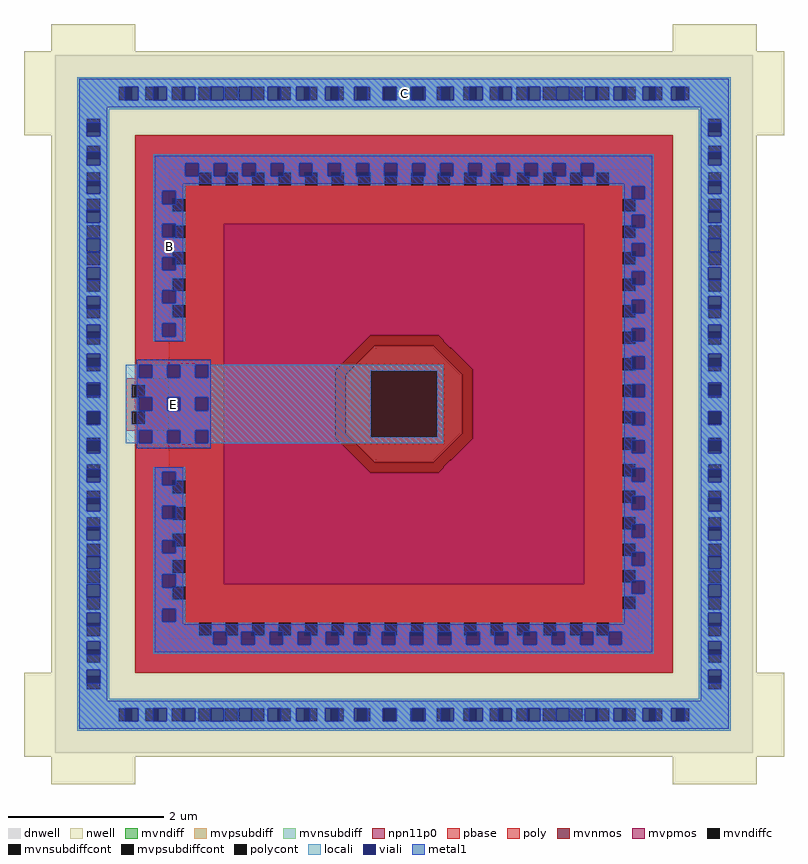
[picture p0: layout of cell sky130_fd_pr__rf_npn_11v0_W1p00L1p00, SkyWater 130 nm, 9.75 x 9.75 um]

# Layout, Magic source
magic
tech sky130A
magscale 1 2
<< dnwell >>
rect 80 80 1870 1870
<< nwell >>
rect 70 1880 286 1950
rect 1664 1880 1880 1950
rect 0 1664 1950 1880
rect 70 286 286 1664
rect 1664 286 1880 1664
rect 0 70 1950 286
rect 70 0 286 70
rect 1664 0 1880 70
<< pbase >>
rect 286 286 1664 1664
<< npn11p0 >>
rect 286 286 1664 1664
<< mvnmos >>
tri 862 1125 888 1151 se
rect 888 1125 1063 1151
tri 1063 1125 1089 1151 sw
tri 850 1113 862 1125 se
rect 862 1113 888 1125
tri 888 1113 900 1125 nw
tri 1051 1113 1063 1125 ne
rect 1063 1113 1089 1125
tri 1089 1113 1101 1125 sw
tri 831 1094 850 1113 se
rect 850 1094 869 1113
tri 869 1094 888 1113 nw
tri 1063 1094 1082 1113 ne
rect 1082 1094 1101 1113
tri 1101 1094 1120 1113 sw
tri 799 1062 831 1094 se
rect 831 1062 837 1094
tri 837 1062 869 1094 nw
tri 1082 1063 1113 1094 ne
rect 1113 1063 1120 1094
tri 1120 1063 1151 1094 sw
rect 799 899 825 1062
tri 825 1050 837 1062 nw
tri 825 899 826 900 sw
rect 799 888 826 899
tri 826 888 837 899 sw
tri 1113 1051 1125 1063 ne
tri 799 856 831 888 ne
rect 831 856 837 888
tri 837 856 869 888 sw
tri 1113 887 1125 899 se
rect 1125 887 1151 1063
tri 1082 856 1113 887 se
rect 1113 856 1120 887
tri 1120 856 1151 887 nw
tri 831 837 850 856 ne
rect 850 837 869 856
tri 869 837 888 856 sw
tri 1063 837 1082 856 se
rect 1082 837 1101 856
tri 1101 837 1120 856 nw
tri 850 825 862 837 ne
rect 862 825 888 837
tri 888 825 900 837 sw
tri 1051 825 1063 837 se
rect 1063 825 1089 837
tri 1089 825 1101 837 nw
tri 862 799 888 825 ne
rect 888 799 1063 825
tri 1063 799 1089 825 nw
<< mvpmos >>
rect 512 1151 1438 1437
rect 512 1125 862 1151
tri 862 1125 888 1151 nw
tri 1063 1125 1089 1151 ne
rect 1089 1125 1438 1151
rect 512 1113 850 1125
tri 850 1113 862 1125 nw
tri 1089 1113 1101 1125 ne
rect 1101 1113 1438 1125
rect 512 1094 831 1113
tri 831 1094 850 1113 nw
tri 1101 1094 1120 1113 ne
rect 1120 1094 1438 1113
rect 512 856 799 1094
tri 799 1062 831 1094 nw
tri 1120 1063 1151 1094 ne
tri 799 856 831 888 sw
tri 1120 856 1151 887 se
rect 1151 856 1438 1094
rect 512 837 831 856
tri 831 837 850 856 sw
tri 1101 837 1120 856 se
rect 1120 837 1438 856
rect 512 825 850 837
tri 850 825 862 837 sw
tri 1089 825 1101 837 se
rect 1101 825 1438 837
rect 512 799 862 825
tri 862 799 888 825 sw
tri 1063 799 1089 825 se
rect 1089 799 1438 825
rect 512 512 1438 799
<< mvndiff >>
tri 888 1113 900 1125 se
rect 900 1113 1051 1125
tri 1051 1113 1063 1125 sw
tri 869 1094 888 1113 se
rect 888 1094 1063 1113
tri 1063 1094 1082 1113 sw
tri 837 1062 869 1094 se
rect 869 1063 1082 1094
tri 1082 1063 1113 1094 sw
rect 869 1062 1113 1063
tri 825 1050 837 1062 se
rect 837 1060 1113 1062
rect 837 1050 890 1060
rect 825 900 890 1050
tri 825 899 826 900 ne
rect 826 899 890 900
tri 826 888 837 899 ne
rect 837 890 890 899
rect 1060 1051 1113 1060
tri 1113 1051 1125 1063 sw
rect 1060 899 1125 1051
rect 1060 890 1113 899
rect 837 888 1113 890
tri 837 856 869 888 ne
rect 869 887 1113 888
tri 1113 887 1125 899 nw
rect 869 856 1082 887
tri 1082 856 1113 887 nw
tri 869 837 888 856 ne
rect 888 837 1063 856
tri 1063 837 1082 856 nw
tri 888 825 900 837 ne
rect 900 825 1051 837
tri 1051 825 1063 837 nw
<< mvndiffc >>
rect 890 890 1060 1060
<< mvpsubdiff >>
rect 372 1570 1578 1577
rect 372 1536 448 1570
rect 482 1536 516 1570
rect 550 1536 584 1570
rect 618 1536 652 1570
rect 686 1536 720 1570
rect 754 1536 788 1570
rect 822 1536 856 1570
rect 890 1536 924 1570
rect 958 1536 992 1570
rect 1026 1536 1060 1570
rect 1094 1536 1128 1570
rect 1162 1536 1196 1570
rect 1230 1536 1264 1570
rect 1298 1536 1332 1570
rect 1366 1536 1400 1570
rect 1434 1536 1468 1570
rect 1502 1536 1578 1570
rect 372 1502 1578 1536
rect 372 1468 380 1502
rect 414 1468 1536 1502
rect 1570 1468 1578 1502
rect 372 1437 1578 1468
rect 372 1434 512 1437
rect 372 1400 380 1434
rect 414 1400 512 1434
rect 372 1366 512 1400
rect 372 1332 380 1366
rect 414 1332 512 1366
rect 372 1298 512 1332
rect 372 1264 380 1298
rect 414 1264 512 1298
rect 372 1230 512 1264
rect 372 1196 380 1230
rect 414 1196 512 1230
rect 372 779 512 1196
rect 1438 1434 1578 1437
rect 1438 1400 1536 1434
rect 1570 1400 1578 1434
rect 1438 1366 1578 1400
rect 1438 1332 1536 1366
rect 1570 1332 1578 1366
rect 1438 1298 1578 1332
rect 1438 1264 1536 1298
rect 1570 1264 1578 1298
rect 1438 1230 1578 1264
rect 1438 1196 1536 1230
rect 1570 1196 1578 1230
rect 1438 1162 1578 1196
rect 1438 1128 1536 1162
rect 1570 1128 1578 1162
rect 1438 1094 1578 1128
rect 1438 1060 1536 1094
rect 1570 1060 1578 1094
rect 1438 1026 1578 1060
rect 1438 992 1536 1026
rect 1570 992 1578 1026
rect 1438 958 1578 992
rect 1438 924 1536 958
rect 1570 924 1578 958
rect 1438 890 1578 924
rect 1438 856 1536 890
rect 1570 856 1578 890
rect 1438 822 1578 856
rect 372 745 380 779
rect 414 745 512 779
rect 372 711 512 745
rect 372 677 380 711
rect 414 677 512 711
rect 372 643 512 677
rect 372 609 380 643
rect 414 609 512 643
rect 372 575 512 609
rect 372 541 380 575
rect 414 541 512 575
rect 372 512 512 541
rect 1438 788 1536 822
rect 1570 788 1578 822
rect 1438 754 1578 788
rect 1438 720 1536 754
rect 1570 720 1578 754
rect 1438 686 1578 720
rect 1438 652 1536 686
rect 1570 652 1578 686
rect 1438 618 1578 652
rect 1438 584 1536 618
rect 1570 584 1578 618
rect 1438 550 1578 584
rect 1438 516 1536 550
rect 1570 516 1578 550
rect 1438 512 1578 516
rect 372 507 1578 512
rect 372 473 380 507
rect 414 482 1578 507
rect 414 473 1536 482
rect 372 448 1536 473
rect 1570 448 1578 482
rect 372 414 1578 448
rect 372 380 448 414
rect 482 380 516 414
rect 550 380 584 414
rect 618 380 652 414
rect 686 380 720 414
rect 754 380 788 414
rect 822 380 856 414
rect 890 380 924 414
rect 958 380 992 414
rect 1026 380 1060 414
rect 1094 380 1128 414
rect 1162 380 1196 414
rect 1230 380 1264 414
rect 1298 380 1332 414
rect 1366 380 1400 414
rect 1434 380 1468 414
rect 1502 380 1578 414
rect 372 372 1578 380
<< mvnsubdiff >>
rect 137 1789 1813 1813
rect 137 1755 243 1789
rect 277 1755 311 1789
rect 345 1755 379 1789
rect 413 1755 447 1789
rect 481 1755 515 1789
rect 549 1755 583 1789
rect 617 1755 651 1789
rect 685 1755 719 1789
rect 753 1755 787 1789
rect 821 1755 855 1789
rect 889 1755 923 1789
rect 957 1755 991 1789
rect 1025 1755 1059 1789
rect 1093 1755 1127 1789
rect 1161 1755 1195 1789
rect 1229 1755 1263 1789
rect 1297 1755 1331 1789
rect 1365 1755 1399 1789
rect 1433 1755 1467 1789
rect 1501 1755 1535 1789
rect 1569 1755 1604 1789
rect 1638 1755 1673 1789
rect 1707 1755 1813 1789
rect 137 1731 1813 1755
rect 137 1707 219 1731
rect 137 1673 161 1707
rect 195 1673 219 1707
rect 137 1638 219 1673
rect 137 1604 161 1638
rect 195 1604 219 1638
rect 137 1569 219 1604
rect 1731 1707 1813 1731
rect 1731 1673 1755 1707
rect 1789 1673 1813 1707
rect 1731 1638 1813 1673
rect 1731 1604 1755 1638
rect 1789 1604 1813 1638
rect 137 1535 161 1569
rect 195 1535 219 1569
rect 137 1501 219 1535
rect 137 1467 161 1501
rect 195 1467 219 1501
rect 137 1433 219 1467
rect 137 1399 161 1433
rect 195 1399 219 1433
rect 137 1365 219 1399
rect 137 1331 161 1365
rect 195 1331 219 1365
rect 137 1297 219 1331
rect 137 1263 161 1297
rect 195 1263 219 1297
rect 137 1229 219 1263
rect 137 1195 161 1229
rect 195 1195 219 1229
rect 137 1161 219 1195
rect 137 1127 161 1161
rect 195 1127 219 1161
rect 137 1093 219 1127
rect 137 1059 161 1093
rect 195 1059 219 1093
rect 137 1025 219 1059
rect 137 991 161 1025
rect 195 991 219 1025
rect 137 957 219 991
rect 137 923 161 957
rect 195 923 219 957
rect 137 889 219 923
rect 137 855 161 889
rect 195 855 219 889
rect 137 821 219 855
rect 137 787 161 821
rect 195 787 219 821
rect 137 753 219 787
rect 137 719 161 753
rect 195 719 219 753
rect 137 685 219 719
rect 137 651 161 685
rect 195 651 219 685
rect 137 617 219 651
rect 137 583 161 617
rect 195 583 219 617
rect 137 549 219 583
rect 137 515 161 549
rect 195 515 219 549
rect 137 481 219 515
rect 137 447 161 481
rect 195 447 219 481
rect 137 413 219 447
rect 137 379 161 413
rect 195 379 219 413
rect 137 345 219 379
rect 1731 1569 1813 1604
rect 1731 1535 1755 1569
rect 1789 1535 1813 1569
rect 1731 1501 1813 1535
rect 1731 1467 1755 1501
rect 1789 1467 1813 1501
rect 1731 1433 1813 1467
rect 1731 1399 1755 1433
rect 1789 1399 1813 1433
rect 1731 1365 1813 1399
rect 1731 1331 1755 1365
rect 1789 1331 1813 1365
rect 1731 1297 1813 1331
rect 1731 1263 1755 1297
rect 1789 1263 1813 1297
rect 1731 1229 1813 1263
rect 1731 1195 1755 1229
rect 1789 1195 1813 1229
rect 1731 1161 1813 1195
rect 1731 1127 1755 1161
rect 1789 1127 1813 1161
rect 1731 1093 1813 1127
rect 1731 1059 1755 1093
rect 1789 1059 1813 1093
rect 1731 1025 1813 1059
rect 1731 991 1755 1025
rect 1789 991 1813 1025
rect 1731 957 1813 991
rect 1731 923 1755 957
rect 1789 923 1813 957
rect 1731 889 1813 923
rect 1731 855 1755 889
rect 1789 855 1813 889
rect 1731 821 1813 855
rect 1731 787 1755 821
rect 1789 787 1813 821
rect 1731 753 1813 787
rect 1731 719 1755 753
rect 1789 719 1813 753
rect 1731 685 1813 719
rect 1731 651 1755 685
rect 1789 651 1813 685
rect 1731 617 1813 651
rect 1731 583 1755 617
rect 1789 583 1813 617
rect 1731 549 1813 583
rect 1731 515 1755 549
rect 1789 515 1813 549
rect 1731 481 1813 515
rect 1731 447 1755 481
rect 1789 447 1813 481
rect 1731 413 1813 447
rect 1731 379 1755 413
rect 1789 379 1813 413
rect 137 311 161 345
rect 195 311 219 345
rect 137 277 219 311
rect 137 243 161 277
rect 195 243 219 277
rect 137 219 219 243
rect 1731 345 1813 379
rect 1731 311 1755 345
rect 1789 311 1813 345
rect 1731 277 1813 311
rect 1731 243 1755 277
rect 1789 243 1813 277
rect 1731 219 1813 243
rect 137 195 1813 219
rect 137 161 243 195
rect 277 161 311 195
rect 345 161 379 195
rect 413 161 447 195
rect 481 161 515 195
rect 549 161 583 195
rect 617 161 651 195
rect 685 161 719 195
rect 753 161 787 195
rect 821 161 855 195
rect 889 161 923 195
rect 957 161 991 195
rect 1025 161 1059 195
rect 1093 161 1127 195
rect 1161 161 1195 195
rect 1229 161 1263 195
rect 1297 161 1331 195
rect 1365 161 1399 195
rect 1433 161 1467 195
rect 1501 161 1535 195
rect 1569 161 1604 195
rect 1638 161 1673 195
rect 1707 161 1813 195
rect 137 137 1813 161
<< mvpsubdiffcont >>
rect 448 1536 482 1570
rect 516 1536 550 1570
rect 584 1536 618 1570
rect 652 1536 686 1570
rect 720 1536 754 1570
rect 788 1536 822 1570
rect 856 1536 890 1570
rect 924 1536 958 1570
rect 992 1536 1026 1570
rect 1060 1536 1094 1570
rect 1128 1536 1162 1570
rect 1196 1536 1230 1570
rect 1264 1536 1298 1570
rect 1332 1536 1366 1570
rect 1400 1536 1434 1570
rect 1468 1536 1502 1570
rect 380 1468 414 1502
rect 1536 1468 1570 1502
rect 380 1400 414 1434
rect 380 1332 414 1366
rect 380 1264 414 1298
rect 380 1196 414 1230
rect 1536 1400 1570 1434
rect 1536 1332 1570 1366
rect 1536 1264 1570 1298
rect 1536 1196 1570 1230
rect 1536 1128 1570 1162
rect 1536 1060 1570 1094
rect 1536 992 1570 1026
rect 1536 924 1570 958
rect 1536 856 1570 890
rect 380 745 414 779
rect 380 677 414 711
rect 380 609 414 643
rect 380 541 414 575
rect 1536 788 1570 822
rect 1536 720 1570 754
rect 1536 652 1570 686
rect 1536 584 1570 618
rect 1536 516 1570 550
rect 380 473 414 507
rect 1536 448 1570 482
rect 448 380 482 414
rect 516 380 550 414
rect 584 380 618 414
rect 652 380 686 414
rect 720 380 754 414
rect 788 380 822 414
rect 856 380 890 414
rect 924 380 958 414
rect 992 380 1026 414
rect 1060 380 1094 414
rect 1128 380 1162 414
rect 1196 380 1230 414
rect 1264 380 1298 414
rect 1332 380 1366 414
rect 1400 380 1434 414
rect 1468 380 1502 414
<< mvnsubdiffcont >>
rect 243 1755 277 1789
rect 311 1755 345 1789
rect 379 1755 413 1789
rect 447 1755 481 1789
rect 515 1755 549 1789
rect 583 1755 617 1789
rect 651 1755 685 1789
rect 719 1755 753 1789
rect 787 1755 821 1789
rect 855 1755 889 1789
rect 923 1755 957 1789
rect 991 1755 1025 1789
rect 1059 1755 1093 1789
rect 1127 1755 1161 1789
rect 1195 1755 1229 1789
rect 1263 1755 1297 1789
rect 1331 1755 1365 1789
rect 1399 1755 1433 1789
rect 1467 1755 1501 1789
rect 1535 1755 1569 1789
rect 1604 1755 1638 1789
rect 1673 1755 1707 1789
rect 161 1673 195 1707
rect 161 1604 195 1638
rect 1755 1673 1789 1707
rect 1755 1604 1789 1638
rect 161 1535 195 1569
rect 161 1467 195 1501
rect 161 1399 195 1433
rect 161 1331 195 1365
rect 161 1263 195 1297
rect 161 1195 195 1229
rect 161 1127 195 1161
rect 161 1059 195 1093
rect 161 991 195 1025
rect 161 923 195 957
rect 161 855 195 889
rect 161 787 195 821
rect 161 719 195 753
rect 161 651 195 685
rect 161 583 195 617
rect 161 515 195 549
rect 161 447 195 481
rect 161 379 195 413
rect 1755 1535 1789 1569
rect 1755 1467 1789 1501
rect 1755 1399 1789 1433
rect 1755 1331 1789 1365
rect 1755 1263 1789 1297
rect 1755 1195 1789 1229
rect 1755 1127 1789 1161
rect 1755 1059 1789 1093
rect 1755 991 1789 1025
rect 1755 923 1789 957
rect 1755 855 1789 889
rect 1755 787 1789 821
rect 1755 719 1789 753
rect 1755 651 1789 685
rect 1755 583 1789 617
rect 1755 515 1789 549
rect 1755 447 1789 481
rect 1755 379 1789 413
rect 161 311 195 345
rect 161 243 195 277
rect 1755 311 1789 345
rect 1755 243 1789 277
rect 243 161 277 195
rect 311 161 345 195
rect 379 161 413 195
rect 447 161 481 195
rect 515 161 549 195
rect 583 161 617 195
rect 651 161 685 195
rect 719 161 753 195
rect 787 161 821 195
rect 855 161 889 195
rect 923 161 957 195
rect 991 161 1025 195
rect 1059 161 1093 195
rect 1127 161 1161 195
rect 1195 161 1229 195
rect 1263 161 1297 195
rect 1331 161 1365 195
rect 1399 161 1433 195
rect 1467 161 1501 195
rect 1535 161 1569 195
rect 1604 161 1638 195
rect 1673 161 1707 195
<< poly >>
rect 261 1025 372 1041
rect 261 991 277 1025
rect 311 991 372 1025
rect 261 957 372 991
rect 261 923 277 957
rect 311 923 372 957
rect 261 907 372 923
<< polycont >>
rect 277 991 311 1025
rect 277 923 311 957
<< locali >>
rect 137 1789 1813 1813
rect 137 1755 243 1789
rect 293 1755 311 1789
rect 366 1755 379 1789
rect 439 1755 447 1789
rect 512 1755 515 1789
rect 549 1755 551 1789
rect 617 1755 625 1789
rect 685 1755 699 1789
rect 753 1755 773 1789
rect 821 1755 847 1789
rect 889 1755 921 1789
rect 957 1755 991 1789
rect 1029 1755 1059 1789
rect 1103 1755 1127 1789
rect 1177 1755 1195 1789
rect 1251 1755 1263 1789
rect 1325 1755 1331 1789
rect 1433 1755 1439 1789
rect 1501 1755 1513 1789
rect 1569 1755 1587 1789
rect 1638 1755 1661 1789
rect 1707 1755 1813 1789
rect 137 1731 1813 1755
rect 137 1707 219 1731
rect 137 1662 161 1707
rect 195 1662 219 1707
rect 137 1638 219 1662
rect 137 1588 161 1638
rect 195 1588 219 1638
rect 1731 1707 1813 1731
rect 1731 1662 1755 1707
rect 1789 1662 1813 1707
rect 1731 1638 1813 1662
rect 137 1569 219 1588
rect 137 1514 161 1569
rect 195 1514 219 1569
rect 137 1501 219 1514
rect 137 1440 161 1501
rect 195 1440 219 1501
rect 137 1433 219 1440
rect 137 1366 161 1433
rect 195 1366 219 1433
rect 137 1365 219 1366
rect 137 1331 161 1365
rect 195 1331 219 1365
rect 137 1326 219 1331
rect 137 1263 161 1326
rect 195 1263 219 1326
rect 137 1252 219 1263
rect 137 1195 161 1252
rect 195 1195 219 1252
rect 137 1178 219 1195
rect 137 1127 161 1178
rect 195 1127 219 1178
rect 332 1593 1616 1616
rect 332 1559 414 1593
rect 448 1570 487 1593
rect 521 1570 560 1593
rect 594 1570 633 1593
rect 667 1570 706 1593
rect 740 1570 779 1593
rect 813 1570 852 1593
rect 886 1570 924 1593
rect 958 1570 996 1593
rect 1030 1570 1068 1593
rect 1102 1570 1140 1593
rect 1174 1570 1212 1593
rect 1246 1570 1284 1593
rect 1318 1570 1356 1593
rect 1390 1570 1428 1593
rect 1462 1570 1616 1593
rect 332 1536 448 1559
rect 482 1559 487 1570
rect 550 1559 560 1570
rect 618 1559 633 1570
rect 686 1559 706 1570
rect 754 1559 779 1570
rect 822 1559 852 1570
rect 482 1536 516 1559
rect 550 1536 584 1559
rect 618 1536 652 1559
rect 686 1536 720 1559
rect 754 1536 788 1559
rect 822 1536 856 1559
rect 890 1536 924 1570
rect 958 1536 992 1570
rect 1030 1559 1060 1570
rect 1102 1559 1128 1570
rect 1174 1559 1196 1570
rect 1246 1559 1264 1570
rect 1318 1559 1332 1570
rect 1390 1559 1400 1570
rect 1462 1559 1468 1570
rect 1026 1536 1060 1559
rect 1094 1536 1128 1559
rect 1162 1536 1196 1559
rect 1230 1536 1264 1559
rect 1298 1536 1332 1559
rect 1366 1536 1400 1559
rect 1434 1536 1468 1559
rect 1502 1536 1616 1570
rect 332 1522 414 1536
rect 332 1488 355 1522
rect 389 1502 414 1522
rect 332 1468 380 1488
rect 332 1437 414 1468
rect 332 1403 355 1437
rect 389 1434 414 1437
rect 332 1400 380 1403
rect 332 1366 414 1400
rect 332 1352 380 1366
rect 332 1318 355 1352
rect 389 1318 414 1332
rect 332 1298 414 1318
rect 332 1267 380 1298
rect 332 1233 355 1267
rect 389 1233 414 1264
rect 332 1230 414 1233
rect 332 1196 380 1230
rect 332 1182 414 1196
rect 332 1148 355 1182
rect 389 1148 414 1182
rect 332 1136 414 1148
rect 1536 1534 1616 1536
rect 1536 1502 1559 1534
rect 1593 1500 1616 1534
rect 1570 1468 1616 1500
rect 1536 1461 1616 1468
rect 1536 1434 1559 1461
rect 1593 1427 1616 1461
rect 1570 1400 1616 1427
rect 1536 1388 1616 1400
rect 1536 1366 1559 1388
rect 1593 1354 1616 1388
rect 1570 1332 1616 1354
rect 1536 1315 1616 1332
rect 1536 1298 1559 1315
rect 1593 1281 1616 1315
rect 1570 1264 1616 1281
rect 1536 1242 1616 1264
rect 1536 1230 1559 1242
rect 1593 1208 1616 1242
rect 1570 1196 1616 1208
rect 1536 1170 1616 1196
rect 1536 1162 1559 1170
rect 1593 1136 1616 1170
rect 137 1104 219 1127
rect 137 1059 161 1104
rect 195 1059 219 1104
rect 1570 1128 1616 1136
rect 1536 1098 1616 1128
rect 1536 1094 1559 1098
rect 137 1030 219 1059
rect 137 991 161 1030
rect 195 991 219 1030
rect 137 957 219 991
rect 137 922 161 957
rect 195 922 219 957
rect 137 889 219 922
rect 137 848 161 889
rect 195 848 219 889
rect 261 1042 295 1076
rect 329 1042 367 1076
rect 401 1042 439 1076
rect 473 1060 1076 1076
rect 473 1042 890 1060
rect 261 1025 890 1042
rect 261 991 277 1025
rect 311 992 890 1025
rect 261 958 295 991
rect 329 958 367 992
rect 401 958 439 992
rect 473 958 890 992
rect 261 957 890 958
rect 261 923 277 957
rect 311 923 890 957
rect 261 908 890 923
rect 261 874 295 908
rect 329 874 367 908
rect 401 874 439 908
rect 473 890 890 908
rect 1060 890 1076 1060
rect 473 874 1076 890
rect 1593 1064 1616 1098
rect 1570 1060 1616 1064
rect 1536 1026 1616 1060
rect 1593 992 1616 1026
rect 1536 958 1616 992
rect 1570 954 1616 958
rect 1536 920 1559 924
rect 1593 920 1616 954
rect 1536 890 1616 920
rect 1570 882 1616 890
rect 137 821 219 848
rect 137 774 161 821
rect 195 774 219 821
rect 1536 848 1559 856
rect 1593 848 1616 882
rect 1536 822 1616 848
rect 137 753 219 774
rect 137 700 161 753
rect 195 700 219 753
rect 137 685 219 700
rect 137 626 161 685
rect 195 626 219 685
rect 137 617 219 626
rect 137 552 161 617
rect 195 552 219 617
rect 137 549 219 552
rect 137 515 161 549
rect 195 515 219 549
rect 137 512 219 515
rect 137 447 161 512
rect 195 447 219 512
rect 137 439 219 447
rect 137 379 161 439
rect 195 379 219 439
rect 137 366 219 379
rect 137 311 161 366
rect 195 311 219 366
rect 332 801 414 813
rect 332 767 355 801
rect 389 779 414 801
rect 332 745 380 767
rect 332 714 414 745
rect 332 680 355 714
rect 389 711 414 714
rect 332 677 380 680
rect 332 643 414 677
rect 332 626 380 643
rect 332 592 355 626
rect 389 592 414 609
rect 332 575 414 592
rect 332 541 380 575
rect 332 538 414 541
rect 332 504 355 538
rect 389 507 414 538
rect 332 473 380 504
rect 332 450 414 473
rect 332 416 355 450
rect 389 416 414 450
rect 332 414 414 416
rect 1570 810 1616 822
rect 1536 776 1559 788
rect 1593 776 1616 810
rect 1536 754 1616 776
rect 1570 738 1616 754
rect 1536 704 1559 720
rect 1593 704 1616 738
rect 1536 686 1616 704
rect 1570 666 1616 686
rect 1536 632 1559 652
rect 1593 632 1616 666
rect 1536 618 1616 632
rect 1570 594 1616 618
rect 1536 560 1559 584
rect 1593 560 1616 594
rect 1536 550 1616 560
rect 1570 522 1616 550
rect 1536 488 1559 516
rect 1593 488 1616 522
rect 1536 482 1616 488
rect 1570 448 1616 482
rect 1536 414 1616 448
rect 332 380 448 414
rect 482 391 516 414
rect 550 391 584 414
rect 618 391 652 414
rect 686 391 720 414
rect 754 391 788 414
rect 822 391 856 414
rect 890 391 924 414
rect 958 391 992 414
rect 482 380 486 391
rect 550 380 558 391
rect 618 380 630 391
rect 686 380 702 391
rect 754 380 774 391
rect 822 380 846 391
rect 890 380 918 391
rect 958 380 990 391
rect 1026 380 1060 414
rect 1094 391 1128 414
rect 1162 391 1196 414
rect 1230 391 1264 414
rect 1298 391 1332 414
rect 1366 391 1400 414
rect 1434 391 1468 414
rect 1502 391 1616 414
rect 1096 380 1128 391
rect 1169 380 1196 391
rect 1242 380 1264 391
rect 1315 380 1332 391
rect 1388 380 1400 391
rect 1461 380 1468 391
rect 332 357 486 380
rect 520 357 558 380
rect 592 357 630 380
rect 664 357 702 380
rect 736 357 774 380
rect 808 357 846 380
rect 880 357 918 380
rect 952 357 990 380
rect 1024 357 1062 380
rect 1096 357 1135 380
rect 1169 357 1208 380
rect 1242 357 1281 380
rect 1315 357 1354 380
rect 1388 357 1427 380
rect 1461 357 1500 380
rect 1534 357 1616 391
rect 332 334 1616 357
rect 1731 1588 1755 1638
rect 1789 1588 1813 1638
rect 1731 1569 1813 1588
rect 1731 1514 1755 1569
rect 1789 1514 1813 1569
rect 1731 1501 1813 1514
rect 1731 1440 1755 1501
rect 1789 1440 1813 1501
rect 1731 1433 1813 1440
rect 1731 1366 1755 1433
rect 1789 1366 1813 1433
rect 1731 1365 1813 1366
rect 1731 1331 1755 1365
rect 1789 1331 1813 1365
rect 1731 1326 1813 1331
rect 1731 1263 1755 1326
rect 1789 1263 1813 1326
rect 1731 1252 1813 1263
rect 1731 1195 1755 1252
rect 1789 1195 1813 1252
rect 1731 1178 1813 1195
rect 1731 1127 1755 1178
rect 1789 1127 1813 1178
rect 1731 1104 1813 1127
rect 1731 1059 1755 1104
rect 1789 1059 1813 1104
rect 1731 1030 1813 1059
rect 1731 991 1755 1030
rect 1789 991 1813 1030
rect 1731 957 1813 991
rect 1731 922 1755 957
rect 1789 922 1813 957
rect 1731 889 1813 922
rect 1731 848 1755 889
rect 1789 848 1813 889
rect 1731 821 1813 848
rect 1731 774 1755 821
rect 1789 774 1813 821
rect 1731 753 1813 774
rect 1731 700 1755 753
rect 1789 700 1813 753
rect 1731 685 1813 700
rect 1731 626 1755 685
rect 1789 626 1813 685
rect 1731 617 1813 626
rect 1731 552 1755 617
rect 1789 552 1813 617
rect 1731 549 1813 552
rect 1731 515 1755 549
rect 1789 515 1813 549
rect 1731 512 1813 515
rect 1731 447 1755 512
rect 1789 447 1813 512
rect 1731 439 1813 447
rect 1731 379 1755 439
rect 1789 379 1813 439
rect 1731 366 1813 379
rect 137 293 219 311
rect 137 243 161 293
rect 195 243 219 293
rect 137 219 219 243
rect 1731 311 1755 366
rect 1789 311 1813 366
rect 1731 293 1813 311
rect 1731 243 1755 293
rect 1789 243 1813 293
rect 1731 219 1813 243
rect 137 195 1813 219
rect 137 161 243 195
rect 293 161 311 195
rect 366 161 379 195
rect 439 161 447 195
rect 512 161 515 195
rect 549 161 551 195
rect 617 161 625 195
rect 685 161 699 195
rect 753 161 773 195
rect 821 161 847 195
rect 889 161 921 195
rect 957 161 991 195
rect 1029 161 1059 195
rect 1103 161 1127 195
rect 1177 161 1195 195
rect 1251 161 1263 195
rect 1325 161 1331 195
rect 1433 161 1439 195
rect 1501 161 1513 195
rect 1569 161 1587 195
rect 1638 161 1661 195
rect 1707 161 1813 195
rect 137 137 1813 161
<< viali >>
rect 259 1755 277 1789
rect 277 1755 293 1789
rect 332 1755 345 1789
rect 345 1755 366 1789
rect 405 1755 413 1789
rect 413 1755 439 1789
rect 478 1755 481 1789
rect 481 1755 512 1789
rect 551 1755 583 1789
rect 583 1755 585 1789
rect 625 1755 651 1789
rect 651 1755 659 1789
rect 699 1755 719 1789
rect 719 1755 733 1789
rect 773 1755 787 1789
rect 787 1755 807 1789
rect 847 1755 855 1789
rect 855 1755 881 1789
rect 921 1755 923 1789
rect 923 1755 955 1789
rect 995 1755 1025 1789
rect 1025 1755 1029 1789
rect 1069 1755 1093 1789
rect 1093 1755 1103 1789
rect 1143 1755 1161 1789
rect 1161 1755 1177 1789
rect 1217 1755 1229 1789
rect 1229 1755 1251 1789
rect 1291 1755 1297 1789
rect 1297 1755 1325 1789
rect 1365 1755 1399 1789
rect 1439 1755 1467 1789
rect 1467 1755 1473 1789
rect 1513 1755 1535 1789
rect 1535 1755 1547 1789
rect 1587 1755 1604 1789
rect 1604 1755 1621 1789
rect 1661 1755 1673 1789
rect 1673 1755 1695 1789
rect 161 1673 195 1696
rect 161 1662 195 1673
rect 161 1604 195 1622
rect 161 1588 195 1604
rect 1755 1673 1789 1696
rect 1755 1662 1789 1673
rect 161 1535 195 1548
rect 161 1514 195 1535
rect 161 1467 195 1474
rect 161 1440 195 1467
rect 161 1399 195 1400
rect 161 1366 195 1399
rect 161 1297 195 1326
rect 161 1292 195 1297
rect 161 1229 195 1252
rect 161 1218 195 1229
rect 161 1161 195 1178
rect 161 1144 195 1161
rect 414 1559 448 1593
rect 487 1570 521 1593
rect 560 1570 594 1593
rect 633 1570 667 1593
rect 706 1570 740 1593
rect 779 1570 813 1593
rect 852 1570 886 1593
rect 924 1570 958 1593
rect 996 1570 1030 1593
rect 1068 1570 1102 1593
rect 1140 1570 1174 1593
rect 1212 1570 1246 1593
rect 1284 1570 1318 1593
rect 1356 1570 1390 1593
rect 1428 1570 1462 1593
rect 487 1559 516 1570
rect 516 1559 521 1570
rect 560 1559 584 1570
rect 584 1559 594 1570
rect 633 1559 652 1570
rect 652 1559 667 1570
rect 706 1559 720 1570
rect 720 1559 740 1570
rect 779 1559 788 1570
rect 788 1559 813 1570
rect 852 1559 856 1570
rect 856 1559 886 1570
rect 924 1559 958 1570
rect 996 1559 1026 1570
rect 1026 1559 1030 1570
rect 1068 1559 1094 1570
rect 1094 1559 1102 1570
rect 1140 1559 1162 1570
rect 1162 1559 1174 1570
rect 1212 1559 1230 1570
rect 1230 1559 1246 1570
rect 1284 1559 1298 1570
rect 1298 1559 1318 1570
rect 1356 1559 1366 1570
rect 1366 1559 1390 1570
rect 1428 1559 1434 1570
rect 1434 1559 1462 1570
rect 355 1502 389 1522
rect 355 1488 380 1502
rect 380 1488 389 1502
rect 355 1434 389 1437
rect 355 1403 380 1434
rect 380 1403 389 1434
rect 355 1332 380 1352
rect 380 1332 389 1352
rect 355 1318 389 1332
rect 355 1264 380 1267
rect 380 1264 389 1267
rect 355 1233 389 1264
rect 355 1148 389 1182
rect 1559 1502 1593 1534
rect 1559 1500 1570 1502
rect 1570 1500 1593 1502
rect 1559 1434 1593 1461
rect 1559 1427 1570 1434
rect 1570 1427 1593 1434
rect 1559 1366 1593 1388
rect 1559 1354 1570 1366
rect 1570 1354 1593 1366
rect 1559 1298 1593 1315
rect 1559 1281 1570 1298
rect 1570 1281 1593 1298
rect 1559 1230 1593 1242
rect 1559 1208 1570 1230
rect 1570 1208 1593 1230
rect 1559 1162 1593 1170
rect 1559 1136 1570 1162
rect 1570 1136 1593 1162
rect 161 1093 195 1104
rect 161 1070 195 1093
rect 1559 1094 1593 1098
rect 161 1025 195 1030
rect 161 996 195 1025
rect 161 923 195 956
rect 161 922 195 923
rect 161 855 195 882
rect 161 848 195 855
rect 295 1042 329 1076
rect 367 1042 401 1076
rect 439 1042 473 1076
rect 295 991 311 992
rect 311 991 329 992
rect 295 958 329 991
rect 367 958 401 992
rect 439 958 473 992
rect 295 874 329 908
rect 367 874 401 908
rect 439 874 473 908
rect 1559 1064 1570 1094
rect 1570 1064 1593 1094
rect 1559 992 1570 1026
rect 1570 992 1593 1026
rect 1559 924 1570 954
rect 1570 924 1593 954
rect 1559 920 1593 924
rect 161 787 195 808
rect 161 774 195 787
rect 1559 856 1570 882
rect 1570 856 1593 882
rect 1559 848 1593 856
rect 161 719 195 734
rect 161 700 195 719
rect 161 651 195 660
rect 161 626 195 651
rect 161 583 195 586
rect 161 552 195 583
rect 161 481 195 512
rect 161 478 195 481
rect 161 413 195 439
rect 161 405 195 413
rect 161 345 195 366
rect 161 332 195 345
rect 355 779 389 801
rect 355 767 380 779
rect 380 767 389 779
rect 355 711 389 714
rect 355 680 380 711
rect 380 680 389 711
rect 355 609 380 626
rect 380 609 389 626
rect 355 592 389 609
rect 355 507 389 538
rect 355 504 380 507
rect 380 504 389 507
rect 355 416 389 450
rect 1559 788 1570 810
rect 1570 788 1593 810
rect 1559 776 1593 788
rect 1559 720 1570 738
rect 1570 720 1593 738
rect 1559 704 1593 720
rect 1559 652 1570 666
rect 1570 652 1593 666
rect 1559 632 1593 652
rect 1559 584 1570 594
rect 1570 584 1593 594
rect 1559 560 1593 584
rect 1559 516 1570 522
rect 1570 516 1593 522
rect 1559 488 1593 516
rect 486 380 516 391
rect 516 380 520 391
rect 558 380 584 391
rect 584 380 592 391
rect 630 380 652 391
rect 652 380 664 391
rect 702 380 720 391
rect 720 380 736 391
rect 774 380 788 391
rect 788 380 808 391
rect 846 380 856 391
rect 856 380 880 391
rect 918 380 924 391
rect 924 380 952 391
rect 990 380 992 391
rect 992 380 1024 391
rect 1062 380 1094 391
rect 1094 380 1096 391
rect 1135 380 1162 391
rect 1162 380 1169 391
rect 1208 380 1230 391
rect 1230 380 1242 391
rect 1281 380 1298 391
rect 1298 380 1315 391
rect 1354 380 1366 391
rect 1366 380 1388 391
rect 1427 380 1434 391
rect 1434 380 1461 391
rect 1500 380 1502 391
rect 1502 380 1534 391
rect 486 357 520 380
rect 558 357 592 380
rect 630 357 664 380
rect 702 357 736 380
rect 774 357 808 380
rect 846 357 880 380
rect 918 357 952 380
rect 990 357 1024 380
rect 1062 357 1096 380
rect 1135 357 1169 380
rect 1208 357 1242 380
rect 1281 357 1315 380
rect 1354 357 1388 380
rect 1427 357 1461 380
rect 1500 357 1534 380
rect 1755 1604 1789 1622
rect 1755 1588 1789 1604
rect 1755 1535 1789 1548
rect 1755 1514 1789 1535
rect 1755 1467 1789 1474
rect 1755 1440 1789 1467
rect 1755 1399 1789 1400
rect 1755 1366 1789 1399
rect 1755 1297 1789 1326
rect 1755 1292 1789 1297
rect 1755 1229 1789 1252
rect 1755 1218 1789 1229
rect 1755 1161 1789 1178
rect 1755 1144 1789 1161
rect 1755 1093 1789 1104
rect 1755 1070 1789 1093
rect 1755 1025 1789 1030
rect 1755 996 1789 1025
rect 1755 923 1789 956
rect 1755 922 1789 923
rect 1755 855 1789 882
rect 1755 848 1789 855
rect 1755 787 1789 808
rect 1755 774 1789 787
rect 1755 719 1789 734
rect 1755 700 1789 719
rect 1755 651 1789 660
rect 1755 626 1789 651
rect 1755 583 1789 586
rect 1755 552 1789 583
rect 1755 481 1789 512
rect 1755 478 1789 481
rect 1755 413 1789 439
rect 1755 405 1789 413
rect 161 277 195 293
rect 161 259 195 277
rect 1755 345 1789 366
rect 1755 332 1789 345
rect 1755 277 1789 293
rect 1755 259 1789 277
rect 259 161 277 195
rect 277 161 293 195
rect 332 161 345 195
rect 345 161 366 195
rect 405 161 413 195
rect 413 161 439 195
rect 478 161 481 195
rect 481 161 512 195
rect 551 161 583 195
rect 583 161 585 195
rect 625 161 651 195
rect 651 161 659 195
rect 699 161 719 195
rect 719 161 733 195
rect 773 161 787 195
rect 787 161 807 195
rect 847 161 855 195
rect 855 161 881 195
rect 921 161 923 195
rect 923 161 955 195
rect 995 161 1025 195
rect 1025 161 1029 195
rect 1069 161 1093 195
rect 1093 161 1103 195
rect 1143 161 1161 195
rect 1161 161 1177 195
rect 1217 161 1229 195
rect 1229 161 1251 195
rect 1291 161 1297 195
rect 1297 161 1325 195
rect 1365 161 1399 195
rect 1439 161 1467 195
rect 1467 161 1473 195
rect 1513 161 1535 195
rect 1535 161 1547 195
rect 1587 161 1604 195
rect 1604 161 1621 195
rect 1661 161 1673 195
rect 1673 161 1695 195
<< metal1 >>
rect 142 1789 1808 1809
rect 142 1755 259 1789
rect 293 1755 332 1789
rect 366 1755 405 1789
rect 439 1755 478 1789
rect 512 1755 551 1789
rect 585 1755 625 1789
rect 659 1755 699 1789
rect 733 1755 773 1789
rect 807 1755 847 1789
rect 881 1755 921 1789
rect 955 1755 995 1789
rect 1029 1755 1069 1789
rect 1103 1755 1143 1789
rect 1177 1755 1217 1789
rect 1251 1755 1291 1789
rect 1325 1755 1365 1789
rect 1399 1755 1439 1789
rect 1473 1755 1513 1789
rect 1547 1755 1587 1789
rect 1621 1755 1661 1789
rect 1695 1755 1808 1789
rect 142 1737 1808 1755
rect 142 1696 214 1737
rect 142 1662 161 1696
rect 195 1662 214 1696
rect 142 1622 214 1662
rect 142 1588 161 1622
rect 195 1588 214 1622
rect 1736 1696 1808 1737
rect 1736 1662 1755 1696
rect 1789 1662 1808 1696
rect 1736 1622 1808 1662
rect 142 1548 214 1588
rect 142 1514 161 1548
rect 195 1514 214 1548
rect 142 1474 214 1514
rect 142 1440 161 1474
rect 195 1440 214 1474
rect 142 1400 214 1440
rect 142 1366 161 1400
rect 195 1366 214 1400
rect 142 1326 214 1366
rect 142 1292 161 1326
rect 195 1292 214 1326
rect 142 1252 214 1292
rect 142 1218 161 1252
rect 195 1218 214 1252
rect 142 1178 214 1218
rect 142 1144 161 1178
rect 195 1144 214 1178
rect 142 1104 214 1144
rect 336 1593 1612 1612
rect 336 1559 414 1593
rect 448 1559 487 1593
rect 521 1559 560 1593
rect 594 1559 633 1593
rect 667 1559 706 1593
rect 740 1559 779 1593
rect 813 1559 852 1593
rect 886 1559 924 1593
rect 958 1559 996 1593
rect 1030 1559 1068 1593
rect 1102 1559 1140 1593
rect 1174 1559 1212 1593
rect 1246 1559 1284 1593
rect 1318 1559 1356 1593
rect 1390 1559 1428 1593
rect 1462 1559 1612 1593
rect 336 1540 1612 1559
rect 336 1522 408 1540
rect 336 1488 355 1522
rect 389 1488 408 1522
rect 336 1437 408 1488
rect 336 1403 355 1437
rect 389 1403 408 1437
rect 336 1352 408 1403
rect 336 1318 355 1352
rect 389 1318 408 1352
rect 336 1267 408 1318
rect 336 1233 355 1267
rect 389 1233 408 1267
rect 336 1182 408 1233
rect 336 1148 355 1182
rect 389 1148 408 1182
rect 336 1136 408 1148
rect 1540 1534 1612 1540
rect 1540 1500 1559 1534
rect 1593 1500 1612 1534
rect 1540 1461 1612 1500
rect 1540 1427 1559 1461
rect 1593 1427 1612 1461
rect 1540 1388 1612 1427
rect 1540 1354 1559 1388
rect 1593 1354 1612 1388
rect 1540 1315 1612 1354
rect 1540 1281 1559 1315
rect 1593 1281 1612 1315
rect 1540 1242 1612 1281
rect 1540 1208 1559 1242
rect 1593 1208 1612 1242
rect 1540 1170 1612 1208
rect 1540 1136 1559 1170
rect 1593 1136 1612 1170
rect 142 1070 161 1104
rect 195 1070 214 1104
rect 1540 1098 1612 1136
rect 142 1030 214 1070
rect 142 996 161 1030
rect 195 996 214 1030
rect 142 956 214 996
rect 142 922 161 956
rect 195 922 214 956
rect 142 882 214 922
rect 142 848 161 882
rect 195 848 214 882
rect 289 1076 479 1088
rect 289 1042 295 1076
rect 329 1042 367 1076
rect 401 1042 439 1076
rect 473 1042 479 1076
rect 289 992 479 1042
rect 289 958 295 992
rect 329 958 367 992
rect 401 958 439 992
rect 473 958 479 992
rect 289 908 479 958
rect 289 874 295 908
rect 329 874 367 908
rect 401 874 439 908
rect 473 874 479 908
rect 289 862 479 874
rect 1540 1064 1559 1098
rect 1593 1064 1612 1098
rect 1540 1026 1612 1064
rect 1540 992 1559 1026
rect 1593 992 1612 1026
rect 1540 954 1612 992
rect 1540 920 1559 954
rect 1593 920 1612 954
rect 1540 882 1612 920
rect 142 808 214 848
rect 1540 848 1559 882
rect 1593 848 1612 882
rect 142 774 161 808
rect 195 774 214 808
rect 142 734 214 774
rect 142 700 161 734
rect 195 700 214 734
rect 142 660 214 700
rect 142 626 161 660
rect 195 626 214 660
rect 142 586 214 626
rect 142 552 161 586
rect 195 552 214 586
rect 142 512 214 552
rect 142 478 161 512
rect 195 478 214 512
rect 142 439 214 478
rect 142 405 161 439
rect 195 405 214 439
rect 142 366 214 405
rect 142 332 161 366
rect 195 332 214 366
rect 336 801 408 813
rect 336 767 355 801
rect 389 767 408 801
rect 336 714 408 767
rect 336 680 355 714
rect 389 680 408 714
rect 336 626 408 680
rect 336 592 355 626
rect 389 592 408 626
rect 336 538 408 592
rect 336 504 355 538
rect 389 504 408 538
rect 336 450 408 504
rect 336 416 355 450
rect 389 416 408 450
rect 336 410 408 416
rect 1540 810 1612 848
rect 1540 776 1559 810
rect 1593 776 1612 810
rect 1540 738 1612 776
rect 1540 704 1559 738
rect 1593 704 1612 738
rect 1540 666 1612 704
rect 1540 632 1559 666
rect 1593 632 1612 666
rect 1540 594 1612 632
rect 1540 560 1559 594
rect 1593 560 1612 594
rect 1540 522 1612 560
rect 1540 488 1559 522
rect 1593 488 1612 522
rect 1540 410 1612 488
rect 336 391 1612 410
rect 336 357 486 391
rect 520 357 558 391
rect 592 357 630 391
rect 664 357 702 391
rect 736 357 774 391
rect 808 357 846 391
rect 880 357 918 391
rect 952 357 990 391
rect 1024 357 1062 391
rect 1096 357 1135 391
rect 1169 357 1208 391
rect 1242 357 1281 391
rect 1315 357 1354 391
rect 1388 357 1427 391
rect 1461 357 1500 391
rect 1534 357 1612 391
rect 336 338 1612 357
rect 1736 1588 1755 1622
rect 1789 1588 1808 1622
rect 1736 1548 1808 1588
rect 1736 1514 1755 1548
rect 1789 1514 1808 1548
rect 1736 1474 1808 1514
rect 1736 1440 1755 1474
rect 1789 1440 1808 1474
rect 1736 1400 1808 1440
rect 1736 1366 1755 1400
rect 1789 1366 1808 1400
rect 1736 1326 1808 1366
rect 1736 1292 1755 1326
rect 1789 1292 1808 1326
rect 1736 1252 1808 1292
rect 1736 1218 1755 1252
rect 1789 1218 1808 1252
rect 1736 1178 1808 1218
rect 1736 1144 1755 1178
rect 1789 1144 1808 1178
rect 1736 1104 1808 1144
rect 1736 1070 1755 1104
rect 1789 1070 1808 1104
rect 1736 1030 1808 1070
rect 1736 996 1755 1030
rect 1789 996 1808 1030
rect 1736 956 1808 996
rect 1736 922 1755 956
rect 1789 922 1808 956
rect 1736 882 1808 922
rect 1736 848 1755 882
rect 1789 848 1808 882
rect 1736 808 1808 848
rect 1736 774 1755 808
rect 1789 774 1808 808
rect 1736 734 1808 774
rect 1736 700 1755 734
rect 1789 700 1808 734
rect 1736 660 1808 700
rect 1736 626 1755 660
rect 1789 626 1808 660
rect 1736 586 1808 626
rect 1736 552 1755 586
rect 1789 552 1808 586
rect 1736 512 1808 552
rect 1736 478 1755 512
rect 1789 478 1808 512
rect 1736 439 1808 478
rect 1736 405 1755 439
rect 1789 405 1808 439
rect 1736 366 1808 405
rect 142 293 214 332
rect 142 259 161 293
rect 195 259 214 293
rect 142 214 214 259
rect 1736 332 1755 366
rect 1789 332 1808 366
rect 1736 293 1808 332
rect 1736 259 1755 293
rect 1789 259 1808 293
rect 1736 214 1808 259
rect 142 195 1808 214
rect 142 161 259 195
rect 293 161 332 195
rect 366 161 405 195
rect 439 161 478 195
rect 512 161 551 195
rect 585 161 625 195
rect 659 161 699 195
rect 733 161 773 195
rect 807 161 847 195
rect 881 161 921 195
rect 955 161 995 195
rect 1029 161 1069 195
rect 1103 161 1143 195
rect 1177 161 1217 195
rect 1251 161 1291 195
rect 1325 161 1365 195
rect 1399 161 1439 195
rect 1473 161 1513 195
rect 1547 161 1587 195
rect 1621 161 1661 195
rect 1695 161 1808 195
rect 142 142 1808 161
<< labels >>
flabel metal1 s 289 862 479 1088 0 FreeSans 2000 0 0 0 E
port 1 nsew
flabel metal1 s 354 1336 394 1421 0 FreeSans 2000 0 0 0 B
port 2 nsew
flabel metal1 s 477 1758 1474 1786 0 FreeSans 2000 0 0 0 C
port 3 nsew
<< properties >>
string GDS_FILE $PDKPATH/libs.ref/sky130_fd_pr/gds/sky130_fd_pr__rf_npn_11v0_W1p00L1p00.gds
string GDS_END 23914
string GDS_START 162
string path 4.450 44.925 4.450 3.825 
<< end >>
